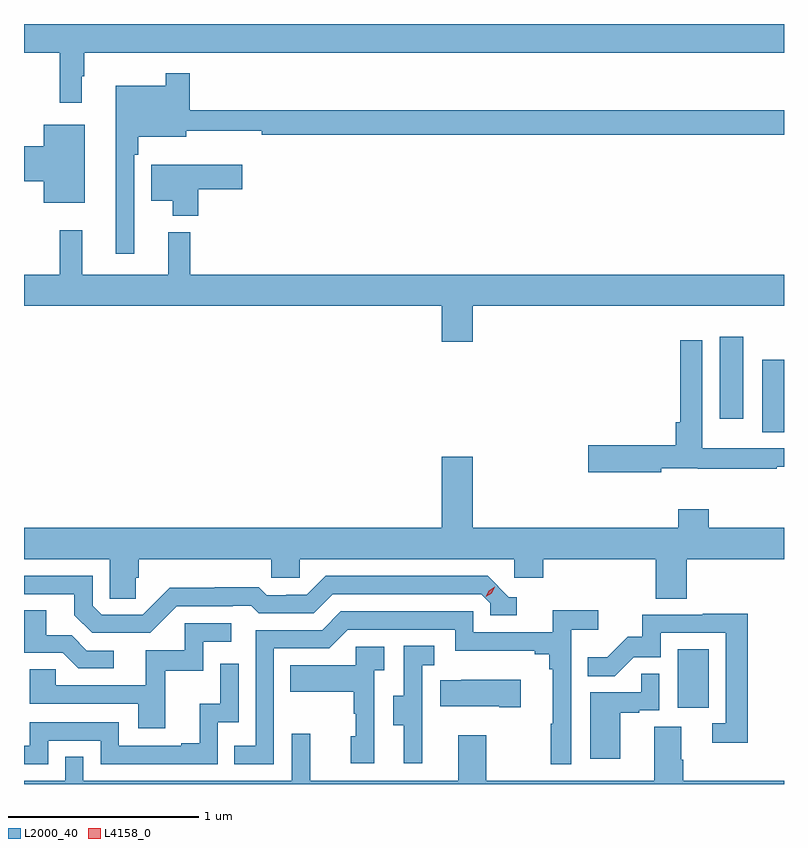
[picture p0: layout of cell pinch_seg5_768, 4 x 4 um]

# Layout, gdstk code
import gdstk
lib = gdstk.Library(unit=1e-6, precision=1e-09)
def R(c, l, rs):  # rectangles x0, y0, x1, y1
    for r in rs: c.add(gdstk.rectangle(r[:2], r[2:], *l))
def P(c, l, *ps):  # polygons
    for p in ps: c.add(gdstk.Polygon(p, *l))
L2000_40 = (2000, 40)
L4158_0 = (4158, 0)

pinch_seg5_768 = lib.new_cell('pinch_seg5_768')
R(pinch_seg5_768, L2000_40, [(837.578,894.606,837.742,894.913), (838.022,896.056,838.137,896.437), (837.8,896.127,837.922,896.557)])
P(pinch_seg5_768, L2000_40, [(834.442,897.929),(834.454,897.929),(834.454,898.052),(838.137,898.052),(838.137,898.204),(834.137,898.204),(834.137,898.052),(834.325,898.052),(834.325,897.789),(834.442,897.789)],
  [(834.717,897.515),(834.737,897.515),(834.737,897.611),(834.991,897.611),(834.991,897.641),(835.387,897.641),(835.387,897.622),(838.137,897.622),(838.137,897.751),(835.01,897.751),(835.01,897.946),(834.882,897.946),(834.882,897.88),(834.62,897.88),(834.62,896.994),(834.717,896.994)],
  [(834.457,897.673),(834.242,897.673),(834.242,897.56),(834.137,897.56),(834.137,897.377),(834.242,897.377),(834.242,897.263),(834.457,897.263)],
  [(835.055,897.334),(835.285,897.334),(835.285,897.463),(834.806,897.463),(834.806,897.275),(834.92,897.275),(834.92,897.194),(835.055,897.194)],
  [(836.5,896.72),(838.137,896.72),(838.137,896.884),(835.013,896.884),(835.013,897.109),(834.896,897.109),(834.896,896.884),(834.443,896.884),(834.443,897.118),(834.325,897.118),(834.325,896.884),(834.137,896.884),(834.137,896.72),(836.336,896.72),(836.336,896.532),(836.5,896.532)],
  [(837.492,895.865),(837.684,895.865),(837.684,895.863),(838.1,895.863),(838.1,895.873),(838.137,895.873),(838.137,895.971),(837.918,895.971),(837.918,895.972),(837.708,895.972),(837.708,896.539),(837.592,896.539),(837.592,896.107),(837.566,896.107),(837.566,895.988),(837.108,895.988),(837.108,895.846),(837.492,895.846)],
  [(834.725,895.29),(834.74,895.29),(834.74,895.388),(835.437,895.388),(835.437,895.29),(835.587,895.29),(835.587,895.388),(836.718,895.388),(836.718,895.29),(836.87,895.29),(836.87,895.388),(837.461,895.388),(837.461,895.18),(837.626,895.18),(837.626,895.388),(838.137,895.388),(838.137,895.552),(837.741,895.552),(837.741,895.651),(837.581,895.651),(837.581,895.552),(836.5,895.552),(836.5,895.927),(836.336,895.927),(836.336,895.552),(834.137,895.552),(834.137,895.388),(834.588,895.388),(834.588,895.18),(834.725,895.18)],
  [(834.942,895.14),(835.235,895.14),(835.235,895.143),(835.334,895.143),(835.373,895.104),(835.662,895.104),(835.761,895.203),(836.544,895.203),(836.592,895.155),(836.592,895.092),(836.731,895.092),(836.731,895.188),(836.688,895.188),(836.577,895.299),(835.724,895.299),(835.625,895.2),(835.518,895.2),(835.518,895.197),(835.415,895.197),(835.373,895.24),(835.14,895.24),(835.14,895.237),(834.904,895.237),(834.762,895.095),(834.546,895.095),(834.498,895.143),(834.498,895.299),(834.137,895.299),(834.137,895.203),(834.401,895.203),(834.401,895.093),(834.495,894.999),(834.801,894.999)],
  [(834.61,894.906),(834.468,894.906),(834.388,894.986),(834.253,894.986),(834.253,895.118),(834.137,895.118),(834.137,894.894),(834.341,894.894),(834.422,894.813),(834.61,894.813)],
  [(835.452,894.918),(835.743,894.918),(835.842,895.017),(836.406,895.017),(836.406,894.905),(836.825,894.905),(836.825,894.886),(836.902,894.886),(836.902,894.809),(836.921,894.809),(836.921,894.521),(836.91,894.521),(836.91,894.309),(837.018,894.309),(837.018,895.016),(837.16,895.016),(837.16,895.118),(836.921,895.118),(836.921,895.002),(836.502,895.002),(836.502,895.113),(835.805,895.113),(835.706,895.014),(835.356,895.014),(835.356,894.405),(835.243,894.405),(835.243,894.309),(835.452,894.309)],
  [(837.947,895.1),(837.709,895.1),(837.709,895.095),(837.391,895.095),(837.391,894.978),(837.314,894.978),(837.207,894.871),(837.103,894.871),(837.103,894.772),(837.247,894.772),(837.345,894.87),(837.489,894.87),(837.489,894.999),(837.831,894.999),(837.831,894.525),(837.759,894.525),(837.759,894.42),(837.947,894.42)],
  [(834.881,894.801),(835.08,894.801),(835.08,894.954),(835.228,894.954),(835.228,895.05),(834.984,895.05),(834.984,894.909),(834.779,894.909),(834.779,894.723),(834.305,894.723),(834.305,894.807),(834.168,894.807),(834.168,894.627),(834.737,894.627),(834.737,894.498),(834.881,894.498)],
  [(836.234,894.525),(836.232,894.525),(836.232,894.829),(836.296,894.829),(836.296,894.932),(836.136,894.932),(836.136,894.669),(836.081,894.669),(836.081,894.514),(836.135,894.514),(836.135,894.312),(836.234,894.312)],
  [(835.98,894.803),(836.032,894.803),(836.032,894.927),(835.884,894.927),(835.884,894.829),(835.537,894.829),(835.537,894.689),(835.872,894.689),(835.872,894.575),(835.882,894.575),(835.882,894.456),(835.856,894.456),(835.856,894.312),(835.98,894.312)],
  [(834.264,894.432),(834.54,894.432),(834.54,894.309),(835.158,894.309),(835.158,894.528),(835.266,894.528),(835.266,894.838),(835.17,894.838),(835.17,894.626),(835.061,894.626),(835.061,894.418),(834.965,894.418),(834.965,894.405),(834.636,894.405),(834.636,894.528),(834.168,894.528),(834.168,894.405),(834.137,894.405),(834.137,894.309),(834.264,894.309)],
  [(837.274,894.579),(837.374,894.579),(837.374,894.591),(837.48,894.591),(837.48,894.785),(837.385,894.785),(837.385,894.687),(837.116,894.687),(837.116,894.336),(837.274,894.336)],
  [(836.752,894.754),(836.437,894.754),(836.437,894.751),(836.329,894.751),(836.329,894.614),(836.639,894.614),(836.639,894.607),(836.752,894.607)],
  [(838.137,894.22),(837.608,894.22),(837.608,894.332),(837.595,894.332),(837.595,894.506),(837.455,894.506),(837.455,894.22),(836.571,894.22),(836.571,894.46),(836.423,894.46),(836.423,894.22),(835.643,894.22),(835.643,894.469),(835.545,894.469),(835.545,894.22),(834.45,894.22),(834.45,894.347),(834.354,894.347),(834.354,894.22),(834.137,894.22),(834.137,894.204),(838.137,894.204)])
P(pinch_seg5_768, L4158_0, [(836.567,895.189),(836.567,895.19),(836.583,895.222),(836.614,895.242),(836.614,895.242),(836.614,895.242),(836.598,895.209),(836.568,895.189)])

lib.write_gds('pinch_seg5_768.gds')
